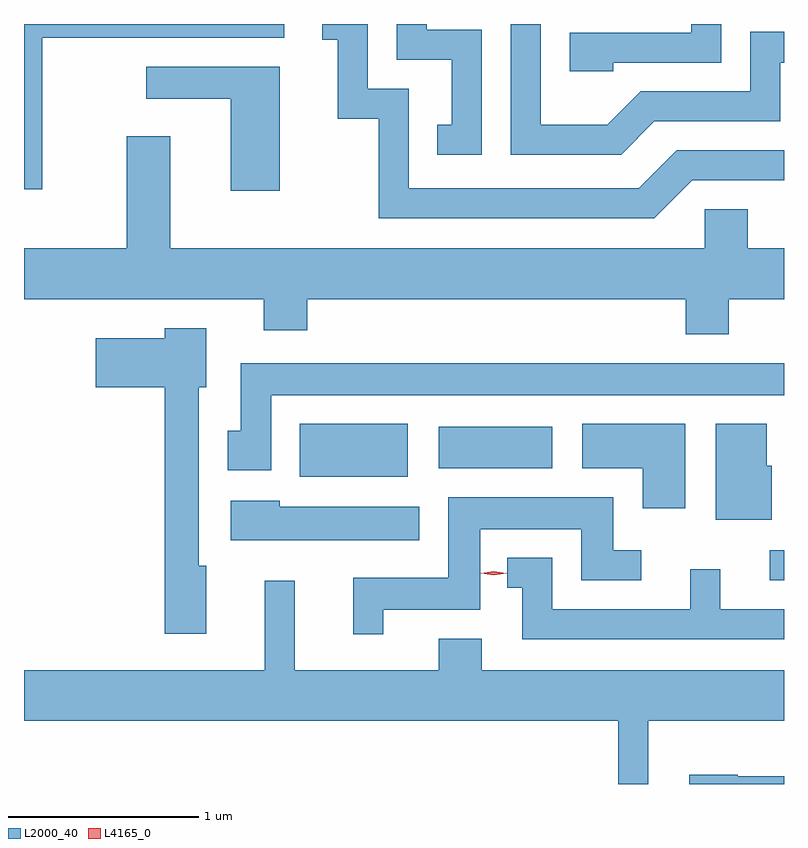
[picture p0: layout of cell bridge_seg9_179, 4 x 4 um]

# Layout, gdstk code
import gdstk
lib = gdstk.Library(unit=1e-6, precision=1e-09)
def R(c, l, rs):  # rectangles x0, y0, x1, y1
    for r in rs: c.add(gdstk.rectangle(r[:2], r[2:], *l))
def P(c, l, *ps):  # polygons
    for p in ps: c.add(gdstk.Polygon(p, *l))
L2000_40 = (2000, 40)
L4165_0 = (4165, 0)

bridge_seg9_179 = lib.new_cell('bridge_seg9_179')
R(bridge_seg9_179, L2000_40, [(1081.683,2061.376,1081.759,2061.534), (1079.211,2061.921,1079.779,2062.199), (1079.941,2061.966,1080.539,2062.184)])
P(bridge_seg9_179, L2000_40, [(1080.859,2064.101),(1081.429,2064.101),(1081.429,2064.304),(1081.271,2064.304),(1081.271,2064.259),(1080.631,2064.259),(1080.631,2064.056),(1080.859,2064.056)],
  [(1080.169,2064.274),(1079.879,2064.274),(1079.879,2064.304),(1079.721,2064.304),(1079.721,2064.116),(1080.011,2064.116),(1080.011,2063.774),(1079.933,2063.774),(1079.933,2063.616),(1080.169,2063.616)],
  [(1081.077,2063.791),(1081.739,2063.791),(1081.739,2064.101),(1081.759,2064.101),(1081.759,2064.264),(1081.581,2064.264),(1081.581,2063.949),(1081.004,2063.949),(1080.829,2063.774),(1080.479,2063.774),(1080.479,2064.304),(1080.321,2064.304),(1080.321,2063.616),(1080.902,2063.616)],
  [(1077.854,2064.231),(1079.128,2064.231),(1079.128,2064.304),(1077.759,2064.304),(1077.759,2063.433),(1077.854,2063.433)],
  [(1081.277,2063.481),(1081.759,2063.481),(1081.759,2063.639),(1081.194,2063.639),(1080.994,2063.439),(1079.784,2063.439),(1079.784,2063.964),(1079.569,2063.964),(1079.569,2064.304),(1079.328,2064.304),(1079.328,2064.221),(1079.411,2064.221),(1079.411,2063.806),(1079.626,2063.806),(1079.626,2063.281),(1081.077,2063.281)],
  [(1079.104,2064.079),(1078.403,2064.079),(1078.403,2063.911),(1078.846,2063.911),(1078.846,2063.426),(1079.104,2063.426)],
  [(1078.301,2063.714),(1078.301,2063.124),(1077.759,2063.124),(1077.759,2062.856),(1079.021,2062.856),(1079.021,2062.691),(1079.249,2062.691),(1079.249,2062.856),(1081.241,2062.856),(1081.241,2062.671),(1081.469,2062.671),(1081.469,2062.856),(1081.759,2062.856),(1081.759,2063.124),(1081.569,2063.124),(1081.569,2063.329),(1081.341,2063.329),(1081.341,2063.124),(1078.529,2063.124),(1078.529,2063.714)],
  [(1078.719,2061.454),(1078.679,2061.454),(1078.679,2062.391),(1078.719,2062.391),(1078.719,2062.704),(1078.501,2062.704),(1078.501,2062.649),(1078.136,2062.649),(1078.136,2062.391),(1078.501,2062.391),(1078.501,2061.096),(1078.719,2061.096)],
  [(1079.059,2062.351),(1081.759,2062.351),(1081.759,2062.519),(1078.901,2062.519),(1078.901,2062.164),(1078.831,2062.164),(1078.831,2061.956),(1079.059,2061.956)],
  [(1081.239,2062.199),(1080.696,2062.199),(1080.696,2061.966),(1081.016,2061.966),(1081.016,2061.756),(1081.239,2061.756)],
  [(1081.694,2061.979),(1081.669,2061.979),(1081.669,2062.199),(1081.401,2062.199),(1081.401,2061.696),(1081.694,2061.696)],
  [(1079.649,2061.221),(1080.159,2061.221),(1080.159,2061.646),(1080.691,2061.646),(1080.691,2061.376),(1081.008,2061.376),(1081.008,2061.534),(1080.859,2061.534),(1080.859,2061.814),(1079.991,2061.814),(1079.991,2061.389),(1079.491,2061.389),(1079.491,2061.093),(1079.649,2061.093)],
  [(1079.839,2061.764),(1079.104,2061.764),(1079.104,2061.794),(1078.846,2061.794),(1078.846,2061.586),(1079.839,2061.586)],
  [(1081.759,2061.224),(1081.424,2061.224),(1081.424,2061.433),(1081.266,2061.433),(1081.266,2061.224),(1080.539,2061.224),(1080.539,2061.494),(1080.303,2061.494),(1080.303,2061.336),(1080.381,2061.336),(1080.381,2061.066),(1081.759,2061.066)],
  [(1081.044,2060.636),(1081.759,2060.636),(1081.759,2060.904),(1080.169,2060.904),(1080.169,2061.069),(1079.941,2061.069),(1079.941,2060.904),(1079.184,2060.904),(1079.184,2061.373),(1079.026,2061.373),(1079.026,2060.904),(1077.759,2060.904),(1077.759,2060.636),(1080.886,2060.636),(1080.886,2060.304),(1081.044,2060.304)],
  [(1081.759,2060.344),(1081.515,2060.344),(1081.515,2060.354),(1081.261,2060.354),(1081.261,2060.304),(1081.759,2060.304)])
P(bridge_seg9_179, L4165_0, [(1080.232,2061.403),(1080.162,2061.413),(1080.162,2061.413),(1080.162,2061.414),(1080.232,2061.423),(1080.301,2061.414),(1080.301,2061.413),(1080.301,2061.413)])

lib.write_gds('bridge_seg9_179.gds')
